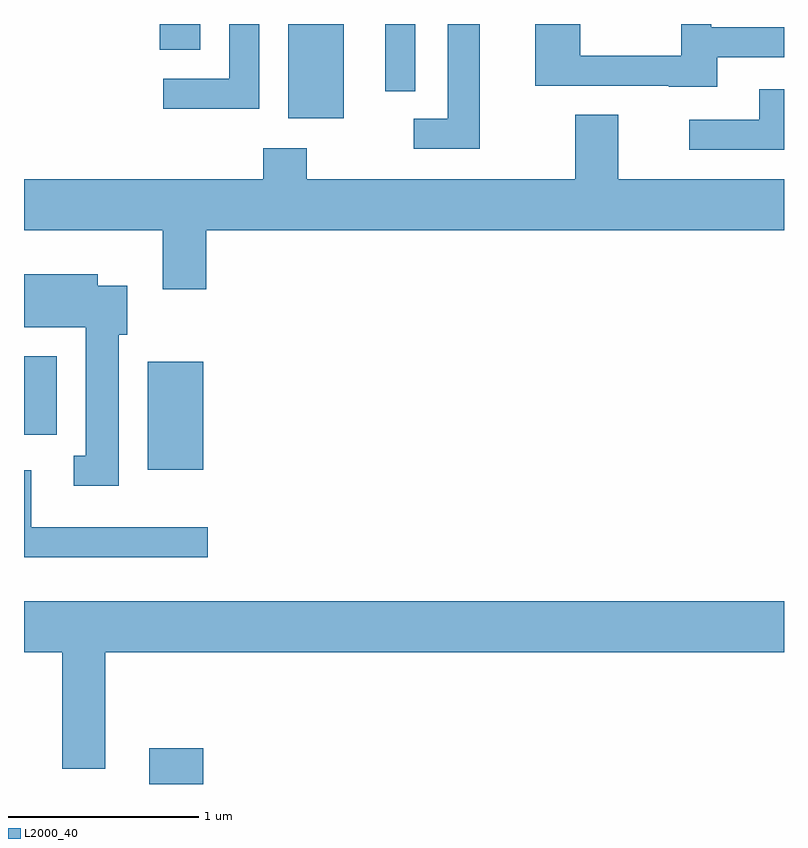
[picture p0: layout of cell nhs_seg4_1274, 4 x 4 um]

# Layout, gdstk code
import gdstk
lib = gdstk.Library(unit=1e-6, precision=1e-09)
def R(c, l, rs):  # rectangles x0, y0, x1, y1
    for r in rs: c.add(gdstk.rectangle(r[:2], r[2:], *l))
def P(c, l, *ps):  # polygons
    for p in ps: c.add(gdstk.Polygon(p, *l))
L2000_40 = (2000, 40)

nhs_seg4_1274 = lib.new_cell('nhs_seg4_1274')
R(nhs_seg4_1274, L2000_40, [(222.271,1353.982,222.554,1354.169), (222.261,1355.636,222.554,1356.204), (221.611,1355.821,221.784,1356.234), (223.001,1357.486,223.294,1357.982), (223.511,1357.628,223.669,1357.982), (222.326,1357.846,222.539,1357.982)])
P(nhs_seg4_1274, L2000_40, [(222.849,1357.982),(222.691,1357.982),(222.691,1357.694),(222.343,1357.694),(222.343,1357.536),(222.849,1357.536)],
  [(224.009,1357.982),(223.841,1357.982),(223.841,1357.484),(223.663,1357.484),(223.663,1357.326),(224.009,1357.326)],
  [(225.259,1357.806),(225.611,1357.806),(225.611,1357.964),(225.229,1357.964),(225.229,1357.982),(225.071,1357.982),(225.071,1357.814),(224.539,1357.814),(224.539,1357.982),(224.301,1357.982),(224.301,1357.656),(225.005,1357.656),(225.005,1357.651),(225.259,1357.651)],
  [(225.611,1357.639),(225.481,1357.639),(225.481,1357.479),(225.113,1357.479),(225.113,1357.321),(225.611,1357.321)],
  [(222.569,1356.896),(225.611,1356.896),(225.611,1357.164),(224.739,1357.164),(224.739,1357.504),(224.511,1357.504),(224.511,1357.164),(223.099,1357.164),(223.099,1357.329),(222.871,1357.329),(222.871,1357.164),(221.611,1357.164),(221.611,1356.896),(222.341,1356.896),(222.341,1356.586),(222.569,1356.586)],
  [(222.109,1356.346),(222.154,1356.346),(222.154,1356.604),(221.999,1356.604),(221.999,1356.664),(221.611,1356.664),(221.611,1356.386),(221.936,1356.386),(221.936,1355.709),(221.873,1355.709),(221.873,1355.551),(222.109,1355.551)],
  [(222.578,1355.334),(221.649,1355.334),(221.649,1355.634),(221.611,1355.634),(221.611,1355.176),(222.578,1355.176)],
  [(222.039,1354.676),(225.611,1354.676),(225.611,1354.944),(221.611,1354.944),(221.611,1354.676),(221.811,1354.676),(221.811,1354.061),(222.039,1354.061)])

lib.write_gds('nhs_seg4_1274.gds')
